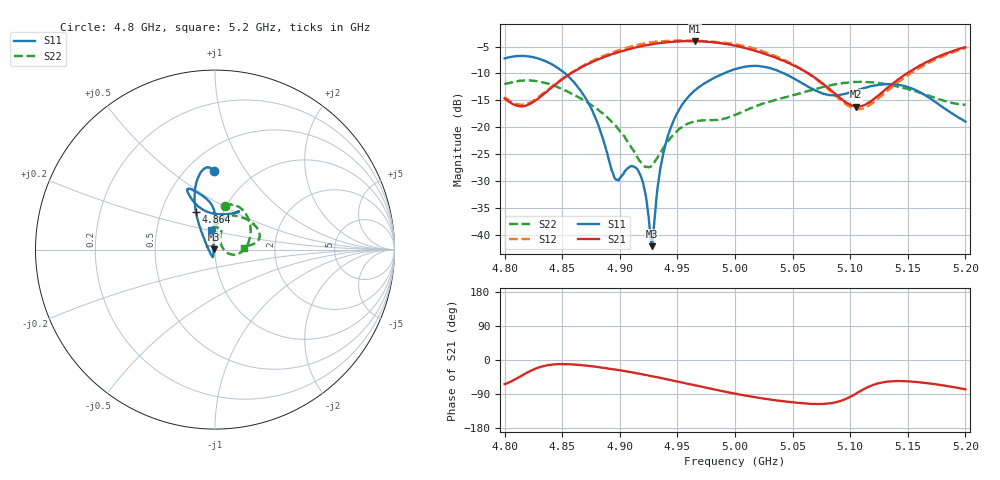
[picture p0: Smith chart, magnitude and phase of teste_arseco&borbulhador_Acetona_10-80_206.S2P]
! Network Analyzer HP8722D
! Hewlett-Packard
! Data name: Linha & Wilkinson
! Saver's name: Rodrigo Anjos
! Comments: Teste da utilização de aquisição
! continua pelo VNA HP8722D
! Time and date: 25/4/2025 16:59
!  Frequency  S11  S21  S12  S22
# HZ  S  MA R 50
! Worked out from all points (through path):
!   401 points, 4.8 GHz to 5.2 GHz, reference 50 ohm
!   highest |S21| = -3.98 dB at 4.965 GHz (marker M1); lowest = -16.1 dB at 5.105 GHz (marker M2)
!   lowest |S11| = -42.1 dB at 4.928 GHz (marker M3), VSWR 1.02, Z = 49.2 + j0.0824 ohm
!   |S11| at or under -10 dB: 4.852 GHz to 4.99 GHz (137.7 MHz wide, 2.8 % of centre); 5.043 GHz to end of sweep
!   |S22| runs from -27.4 to -11.3 dB; largest |S21 - S12| = 1.2
!   S11 on the Smith chart (normalised r, x): 4.8 GHz: 0.67, +0.72; 4.864 GHz: 0.75, +0.33; 5.2 GHz: 0.93, +0.21
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4.8e9  0.4357 90.9  0.1858 -63.8  0.1909 69.6  0.2498 77.3
4.82e9  0.4544 97.2  0.1611 -32.5  0.1665 98.3  0.273 61.7
4.843e9  0.3739 106.6  0.2444 -11.7  0.2484 118.9  0.2441 36.9
4.864e9  0.2339 116.9  0.3476 -12.7  0.352 121.0  0.1903 12.3
4.867e9  0.211 118.5  0.3627 -13.7  0.3666 120.8  0.1826 8.9
4.88e9  0.1141 128.6  0.4223 -18.3  0.4322 118.3  0.1482 -4.8
4.896e9  0.03324 -169.1  0.4874 -25.2  0.5056 113.2  0.1052 -15.7
4.91e9  0.04387 -108.5  0.5389 -32.5  0.5636 107.3  0.06492 -13.2
4.917e9  0.03771 -105.0  0.5609 -36.3  0.5869 103.6  0.04893 -0.6
4.921e9  0.02792 -109.9  0.5734 -38.6  0.5993 101.5  0.04428 12.8
4.928e9  0.007896 173.9  0.5888 -42.8  0.6165 97.2  0.04454 40.6
4.934e9  0.03422 100.4  0.6027 -46.6  0.6283 93.3  0.05547 57.6
4.939e9  0.06527 93.6  0.612 -49.8  0.6327 90.2  0.06712 65.2
4.946e9  0.1107 90.4  0.6203 -54.4  0.6367 85.8  0.08417 69.3
4.965e9  0.2194 91.2  0.6326 -66.9  0.6356 73.6  0.1136 71.3
5e9  0.3471 109.3  0.5722 -89.0  0.5908 50.9  0.1303 88.2
5.03e9  0.3556 115.4  0.4644 -104.0  0.4801 33.9  0.1729 85.4
5.067e9  0.2286 105.7  0.3006 -115.8  0.2979 23.6  0.2214 57.2
5.105e9  0.2195 66.0  0.1559 -88.8  0.1483 54.3  0.2635 25.6
5.134e9  0.252 57.8  0.2404 -56.7  0.2257 88.7  0.2486 12.4
5.171e9  0.1808 71.9  0.4273 -62.7  0.4104 84.2  0.1921 7.0
5.2e9  0.113 101.0  0.5536 -77.4  0.5437 70.2  0.1621 3.7
